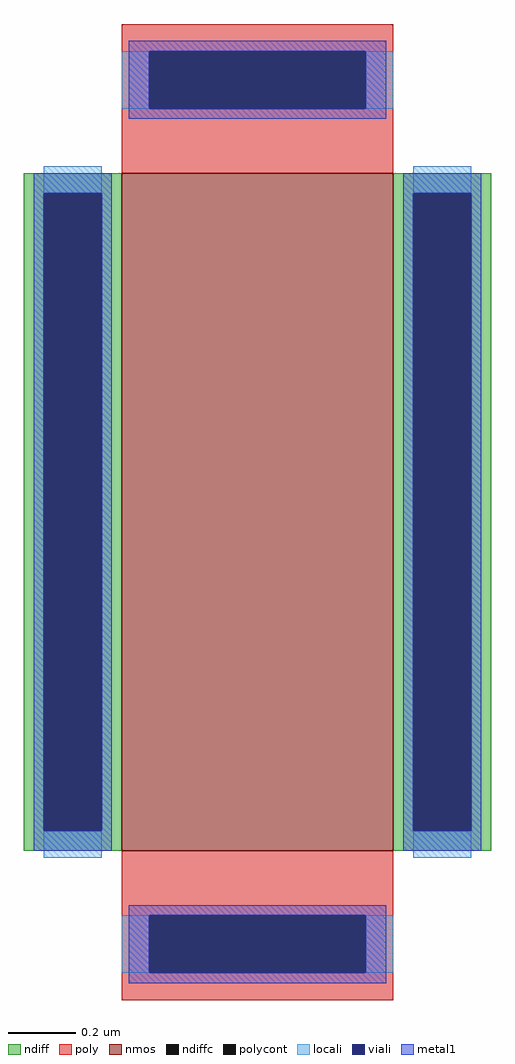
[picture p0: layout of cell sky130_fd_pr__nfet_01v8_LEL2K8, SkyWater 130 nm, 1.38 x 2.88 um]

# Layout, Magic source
magic
tech sky130A
<< nmos >>
rect -40 -100 40 100
<< ndiff >>
rect -69 94 -40 100
rect -69 -94 -63 94
rect -46 -94 -40 94
rect -69 -100 -40 -94
rect 40 94 69 100
rect 40 -94 46 94
rect 63 -94 69 94
rect 40 -100 69 -94
<< ndiffc >>
rect -63 -94 -46 94
rect 46 -94 63 94
<< poly >>
rect -40 136 40 144
rect -40 119 -32 136
rect 32 119 40 136
rect -40 100 40 119
rect -40 -119 40 -100
rect -40 -136 -32 -119
rect 32 -136 40 -119
rect -40 -144 40 -136
<< polycont >>
rect -32 119 32 136
rect -32 -136 32 -119
<< locali >>
rect -40 119 -32 136
rect 32 119 40 136
rect -63 94 -46 102
rect -63 -102 -46 -94
rect 46 94 63 102
rect 46 -102 63 -94
rect -40 -136 -32 -119
rect 32 -136 40 -119
<< viali >>
rect -32 119 32 136
rect -63 -94 -46 94
rect 46 -94 63 94
rect -32 -136 32 -119
<< metal1 >>
rect -38 136 38 139
rect -38 119 -32 136
rect 32 119 38 136
rect -38 116 38 119
rect -66 94 -43 100
rect -66 -94 -63 94
rect -46 -94 -43 94
rect -66 -100 -43 -94
rect 43 94 66 100
rect 43 -94 46 94
rect 63 -94 66 94
rect 43 -100 66 -94
rect -38 -119 38 -116
rect -38 -136 -32 -119
rect 32 -136 38 -119
rect -38 -139 38 -136
<< properties >>
string gencell sky130_fd_pr__nfet_01v8
string library sky130
string parameters w 2 l 0.8 m 1 nf 1 diffcov 100 polycov 100 guard 0 glc 1 grc 1 gtc 1 gbc 1 tbcov 100 rlcov 100 topc 1 botc 1 poverlap 1 doverlap 1 lmin 0.15 wmin 0.42 compatible {sky130_fd_pr__nfet_01v8 sky130_fd_pr__nfet_01v8_lvt  sky130_fd_bs_flash__special_sonosfet_star  sky130_fd_pr__nfet_g5v0d10v5 sky130_fd_pr__nfet_05v0_nvt  sky130_fd_pr__nfet_03v3_nvt} full_metal 1 viasrc 100 viadrn 100 viagate 100 viagb 0 viagr 0 viagl 0 viagt 0
<< end >>
